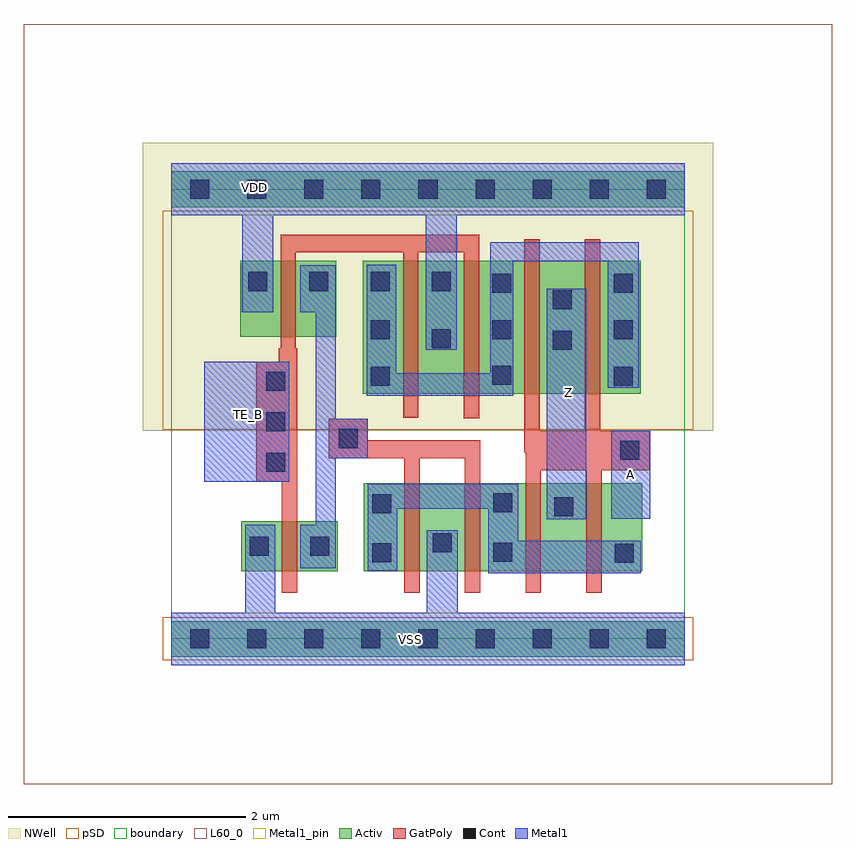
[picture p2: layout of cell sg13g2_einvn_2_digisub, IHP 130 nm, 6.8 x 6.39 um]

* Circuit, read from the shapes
.subckt sg13g2_einvn_2_digisub A TE_B VDD VSS Z
XM1 n1 TE_B VSS VSS sg13_lv_nmos w=0.42u l=0.13u
XM2 VSS n1 n2 VSS sg13_lv_nmos w=0.74u l=0.13u m=2
XM3 Z A n2 VSS sg13_lv_nmos w=0.74u l=0.13u m=2
XM4 n1 TE_B VDD VDD sg13_lv_pmos w=0.64u l=0.13u
XM5 VDD TE_B n3 VDD sg13_lv_pmos w=1.12u l=0.13u m=2
XM6 Z A n3 VDD sg13_lv_pmos w=1.12u l=0.13u m=2
.ends

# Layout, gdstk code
import gdstk
lib = gdstk.Library(unit=1e-6, precision=1e-09)
def R(c, l, rs):  # rectangles x0, y0, x1, y1
    for r in rs: c.add(gdstk.rectangle(r[:2], r[2:], *l))
def A(c, l, x, y, w, h, nx, ny, dx, dy):  # array of equal rectangles
    R(c, l, [(x+i*dx, y+j*dy, x+i*dx+w, y+j*dy+h) for i in range(nx) for j in range(ny)])
def P(c, l, *ps):  # polygons
    for p in ps: c.add(gdstk.Polygon(p, *l))
Activ = (1, 0)
GatPoly = (5, 0)
Cont = (6, 0)
Metal1 = (8, 0)
Metal1_pin = (8, 2)
pSD = (14, 0)
NWell = (31, 0)
L60_0 = (60, 0)
boundary = (189, 4)

sg13g2_einvn_2_digisub = lib.new_cell('sg13g2_einvn_2_digisub')
R(sg13g2_einvn_2_digisub, Activ, [(0,-0.15,4.32,0.15), (0.59,0.57,1.4,0.99), (1.62,0.57,3.96,1.31), (1.61,2.06,3.95,3.18), (0.58,2.54,1.39,3.18), (0,3.63,4.32,3.93)])
P(sg13g2_einvn_2_digisub, GatPoly, [(2.59,3.4),(0.92,3.4),(0.92,2.445),(0.905,2.445),(0.905,2.33),(0.715,2.33),(0.715,1.32),(0.93,1.32),(0.93,0.39),(1.06,0.39),(1.06,2.445),(1.05,2.445),(1.05,3.25),(1.95,3.25),(1.95,1.86),(2.08,1.86),(2.08,3.25),(2.46,3.25),(2.46,1.855),(2.59,1.855)],
  [(4.025,1.75),(3.61,1.75),(3.61,3.36),(3.48,3.36),(3.48,1.75),(3.1,1.75),(3.1,3.36),(2.97,3.36),(2.97,1.57),(2.98,1.57),(2.98,0.39),(3.11,0.39),(3.11,1.42),(3.49,1.42),(3.49,0.39),(3.62,0.39),(3.62,1.42),(4.025,1.42)],
  [(2.6,1.67),(1.655,1.67),(1.655,1.85),(1.325,1.85),(1.325,1.52),(1.96,1.52),(1.96,0.39),(2.09,0.39),(2.09,1.52),(2.47,1.52),(2.47,0.39),(2.6,0.39)])
A(sg13g2_einvn_2_digisub, Cont, 0.16, -0.08, 0.16, 0.16, 9, 2, 0.48, 3.78)
A(sg13g2_einvn_2_digisub, Cont, 0.8, 1.405, 0.16, 0.16, 1, 3, 0, 0.34)
A(sg13g2_einvn_2_digisub, Cont, 1.68, 2.52, 0.16, 0.16, 3, 1, 1.02, 0)
R(sg13g2_einvn_2_digisub, Cont, [(3.73,0.64,3.89,0.8), (1.69,0.645,1.85,0.805), (2.71,0.65,2.87,0.81), (0.66,0.7,0.82,0.86), (1.17,0.7,1.33,0.86), (2.2,0.73,2.36,0.89), (3.22,1.03,3.38,1.19), (1.69,1.055,1.85,1.215), (2.71,1.065,2.87,1.225), (3.775,1.505,3.935,1.665), (1.41,1.605,1.57,1.765), (1.68,2.13,1.84,2.29), (3.72,2.13,3.88,2.29), (2.7,2.135,2.86,2.295), (3.21,2.43,3.37,2.59), (2.19,2.445,2.35,2.605), (3.21,2.77,3.37,2.93), (2.7,2.91,2.86,3.07), (3.72,2.91,3.88,3.07), (0.65,2.925,0.81,3.085), (1.16,2.925,1.32,3.085), (1.68,2.925,1.84,3.085), (2.19,2.925,2.35,3.085)])
R(sg13g2_einvn_2_digisub, Metal1, [(3.16,1.005,3.49,2.945), (3.7,1.01,4.03,1.75), (0.28,1.32,0.995,2.33)])
P(sg13g2_einvn_2_digisub, Metal1, [(3.93,3.335),(2.685,3.335),(2.685,2.235),(1.895,2.235),(1.895,3.145),(1.645,3.145),(1.645,2.045),(2.875,2.045),(2.875,3.175),(3.67,3.175),(3.67,2.11),(3.93,2.11)],
  [(1.655,0.575),(1.655,1.305),(2.92,1.305),(2.92,0.825),(3.95,0.825),(3.95,0.55),(2.665,0.55),(2.665,1.095),(1.9,1.095),(1.9,0.575)],
  [(1.215,2.745),(1.085,2.745),(1.085,3.14),(1.385,3.14),(1.385,1.85),(1.655,1.85),(1.655,1.52),(1.385,1.52),(1.385,0.595),(1.085,0.595),(1.085,0.96),(1.215,0.96)],
  [(4.32,0.22),(2.41,0.22),(2.41,0.915),(2.15,0.915),(2.15,0.22),(0.875,0.22),(0.875,0.96),(0.625,0.96),(0.625,0.22),(0,0.22),(0,-0.22),(4.32,-0.22)],
  [(4.32,4),(0,4),(0,3.56),(0.6,3.56),(0.6,2.745),(0.86,2.745),(0.86,3.56),(2.14,3.56),(2.14,2.43),(2.4,2.43),(2.4,3.56),(4.32,3.56)])
R(sg13g2_einvn_2_digisub, Metal1_pin, [(0,-0.22,4.32,0.22), (3.16,1.005,3.49,2.945), (3.7,1.01,4.03,1.75), (0.28,1.32,0.995,2.33), (0,3.56,4.32,4)])
R(sg13g2_einvn_2_digisub, pSD, [(-0.07,-0.18,4.39,0.18), (-0.07,1.76,4.39,3.6)])
R(sg13g2_einvn_2_digisub, NWell, [(-0.24,1.75,4.56,4.17)])
R(sg13g2_einvn_2_digisub, L60_0, [(-1.24,-1.22,5.56,5.17)])
R(sg13g2_einvn_2_digisub, boundary, [(0,0,4.32,3.78)])
sg13g2_einvn_2_digisub.add(gdstk.Label('Z', (3.345,2.07), layer=8, texttype=25))
sg13g2_einvn_2_digisub.add(gdstk.Label('A', (3.86,1.385), layer=8, texttype=25))
sg13g2_einvn_2_digisub.add(gdstk.Label('VSS', (2.01,-0.005), layer=8, texttype=25))
sg13g2_einvn_2_digisub.add(gdstk.Label('TE_B', (0.65,1.885), layer=8, texttype=25))
sg13g2_einvn_2_digisub.add(gdstk.Label('VDD', (0.705,3.795), layer=8, texttype=25))

lib.write_gds('sg13g2_einvn_2_digisub.gds')
